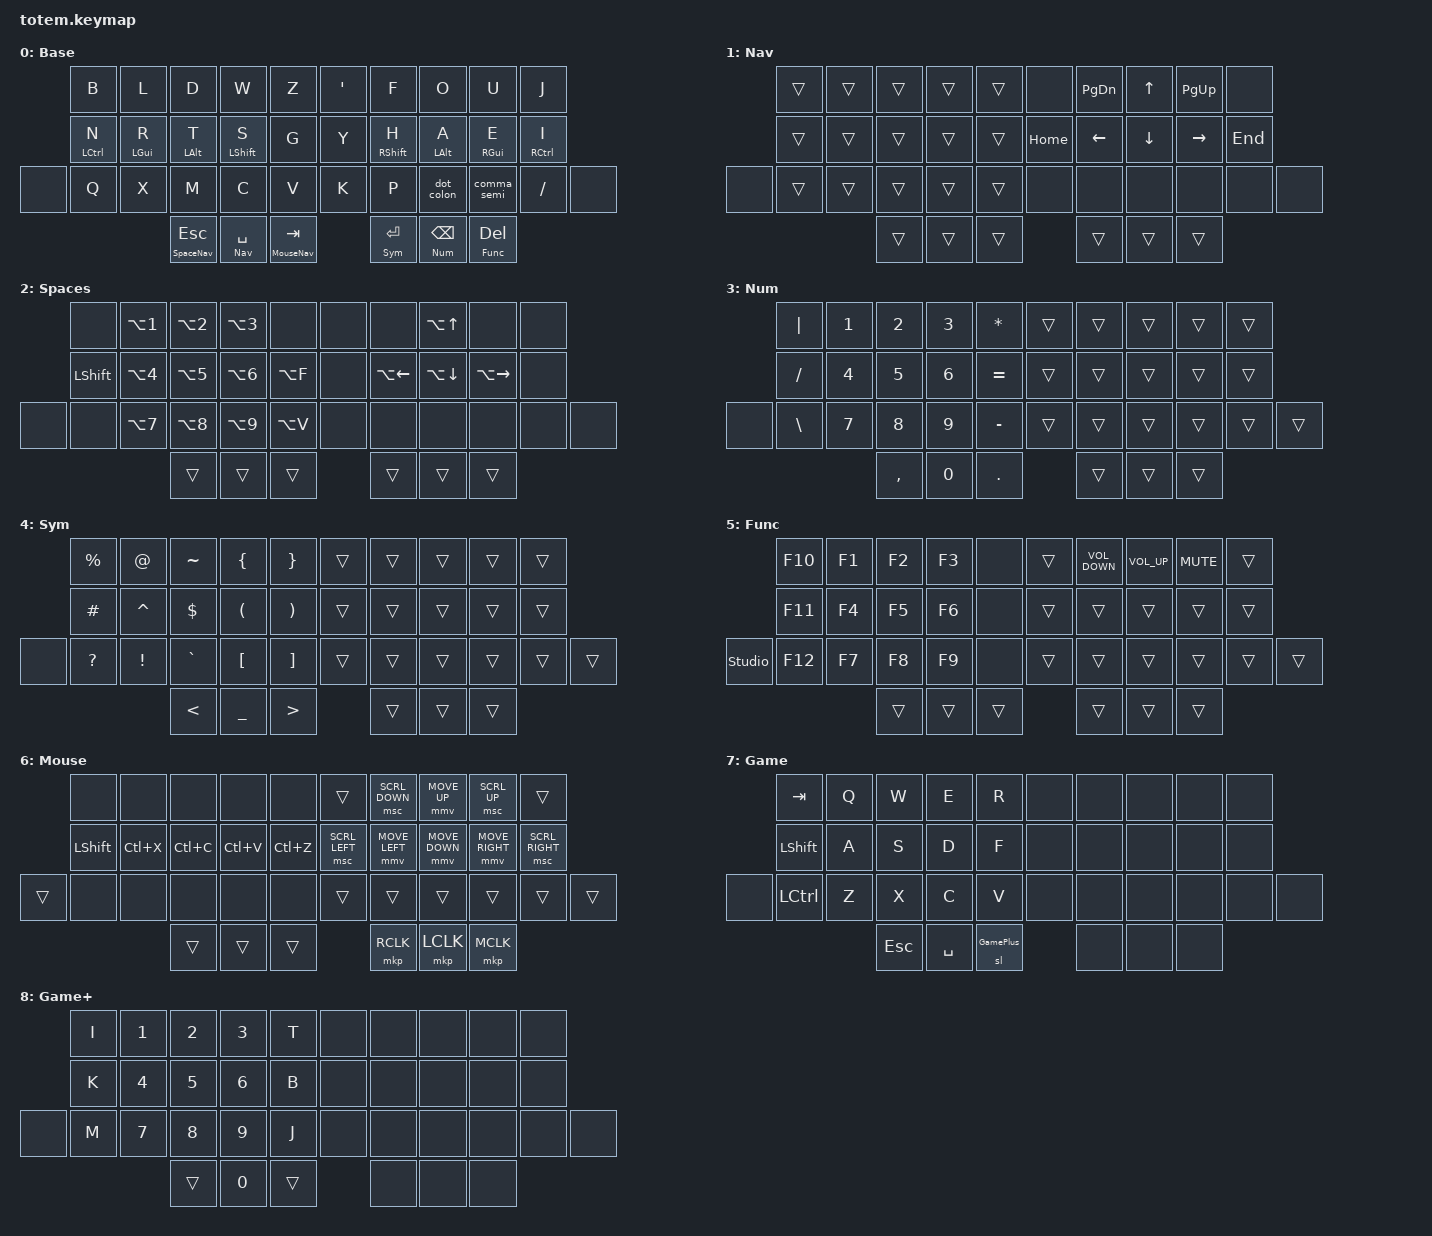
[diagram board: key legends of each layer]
//
//                                                        ▀▀▀▀▀     ▀▀▀▀▀          ▀▀█▀▀
//                                                        ▄▀▀▀▄  ▄  ▄▀▀▀▄  ▄  ▄▀▀▀▄  █  ▄▀▀▀▄
//                                                        █   █  █  █   █  █  █   █  █  █   █
//                                                         ▀▀▀   █   ▀▀▀   █   ▀▀▀   ▀   ▀▀▀
//                                                               █      ▄▄▄█▄▄▄    █   █
//                                                               ▀      █  █  █     █▄█
//                                                             ▀▀▀▀▀    █  █  █      ▀
//                                                                      ▀  ▀  ▀
//
// ▄▄▄▄▄▄▄▄▄▄▄▄▄▄▄▄▄▄▄▄▄▄▄▄▄▄▄▄▄▄▄▄▄▄▄▄▄▄▄▄▄▄▄▄▄▄▄▄▄▄▄▄▄▄▄▄▄▄▄▄▄▄▄▄▄▄▄▄▄▄▄▄▄▄▄▄▄▄▄▄▄▄▄▄▄▄▄▄▄▄▄▄▄▄▄▄▄▄▄▄▄▄▄▄▄▄▄▄▄▄▄▄▄▄▄▄▄▄▄▄▄▄▄▄▄▄▄▄▄▄▄▄▄▄▄▄▄▄▄▄▄▄▄▄▄▄▄▄▄

#include <behaviors.dtsi>
#include <dt-bindings/zmk/keys.h>
#include <dt-bindings/zmk/pointing.h>

#define Base        0
#define Nav         1
#define SpaceNav    2
#define Num         3
#define Sym         4
#define Func        5
#define MouseNav    6
#define Game        7
#define GamePlus    8

&mt {
    flavor = "balanced";
    tapping-term-ms = <200>;
    quick-tap-ms = <100>;
    require-prior-idle-ms = <150>;
};

&lt {
    flavor = "balanced";
    quick-tap-ms = <150>;
};

/ {
    behaviors {
        hm: homerow_mods {
            compatible = "zmk,behavior-hold-tap";
            label = "HOMEROW_MODS";
            #binding-cells = <2>;
            flavor = "balanced";
            tapping-term-ms = <200>;
            quick-tap-ms = <125>;
            require-prior-idle-ms = <150>;
            bindings = <&kp>, <&kp>;
        };

        dot_colon: dot_colon {
            compatible = "zmk,behavior-mod-morph";
            label = ". :";
            bindings = <&kp PERIOD>, <&kp COLON>;

            #binding-cells = <0>;
            mods = <(MOD_LSFT|MOD_RSFT)>;
        };

        comma_semi: comma_semi {
            compatible = "zmk,behavior-mod-morph";
            label = ", :";
            bindings = <&kp COMMA>, <&kp SEMI>;

            #binding-cells = <0>;
            mods = <(MOD_LSFT|MOD_RSFT)>;
        };
    };

    combos {
        compatible = "zmk,combos";

        combo_bootloader {
            timeout-ms = <50>;
            require-prior-idle-ms = <500>;
            key-positions = <0 9>;
            layers = <Func>;
            bindings = <&bootloader>;
        };

        combo_caps_word {
            timeout-ms = <50>;
            require-prior-idle-ms = <150>;
            key-positions = <13 16>;
            bindings = <&caps_word>;
        };

        combo_game {
            timeout-ms = <50>;
            require-prior-idle-ms = <500>;
            key-positions = <32 37>;
            bindings = <&tog Game>;
        };
    };

    keymap {
        compatible = "zmk,keymap";

        Base {
            display-name = "Base";
            bindings = <
       &kp       B  &kp      L  &kp      D           &kp        W   &kp Z        &kp SINGLE_QUOTE  &kp        F   &kp      O    &kp      U       &kp       J
       &hm LCTRL N  &hm LGUI R  &hm LALT T           &hm LSHIFT S   &kp G        &kp Y             &hm RSHIFT H   &hm LALT A    &hm RGUI E       &hm RCTRL I
&none  &kp       Q  &kp      X  &kp      M           &kp        C   &kp V        &kp K             &kp        P   &dot_colon    &comma_semi      &kp SLASH   &none
                                &lt SpaceNav ESCAPE  &lt Nav SPACE  &lt MouseNav TAB               &lt Sym ENTER  &lt Num BSPC  &lt Func DELETE
            >;
        };

        Nav {
            display-name = "Nav";
            bindings = <
       &trans  &trans  &trans  &trans  &trans    &none     &kp PAGE_DOWN  &kp UP    &kp PG_UP  &none
       &trans  &trans  &trans  &trans  &trans    &kp HOME  &kp LEFT       &kp DOWN  &kp RIGHT  &kp END
&none  &trans  &trans  &trans  &trans  &trans    &none     &none          &none     &none      &none    &none
                       &trans  &trans  &trans    &trans    &trans         &trans
            >;
        };

        SpaceNav {
            display-name = "Spaces";
            bindings = <
       &none           &kp LA(NUMBER_1)  &kp LA(NUMBER_2)  &kp LA(NUMBER_3)  &none        &none   &none               &kp LA(UP_ARROW)    &none                &none
       &kp LEFT_SHIFT  &kp LA(NUMBER_4)  &kp LA(NUMBER_5)  &kp LA(NUMBER_6)  &kp LA(F)    &none   &kp LA(LEFT_ARROW)  &kp LA(DOWN_ARROW)  &kp LA(RIGHT_ARROW)  &none
&none  &none           &kp LA(N7)        &kp LA(N8)        &kp LA(N9)        &kp LA(V)    &none   &none               &none               &none                &none  &none
                                         &trans            &trans            &trans       &trans  &trans              &trans
            >;
        };

        Num {
            display-name = "Num";
            bindings = <
       &kp PIPE      &kp N1  &kp N2     &kp N3  &kp STAR        &trans  &trans  &trans  &trans  &trans
       &kp FSLH      &kp N4  &kp N5     &kp N6  &kp EQUAL       &trans  &trans  &trans  &trans  &trans
&none  &kp BSLH      &kp N7  &kp N8     &kp N9  &kp MINUS       &trans  &trans  &trans  &trans  &trans  &trans
                             &kp COMMA  &kp N0  &kp DOT         &trans  &trans  &trans
            >;
        };

        Sym {
            display-name = "Sym";
            bindings = <
       &kp PRCNT      &kp AT         &kp TILDE      &kp LBRC       &kp RBRC        &trans  &trans  &trans  &trans  &trans
       &kp POUND      &kp CARET      &kp DLLR       &kp LPAR       &kp RPAR        &trans  &trans  &trans  &trans  &trans
&none  &kp QMARK      &kp EXCL       &kp GRAVE      &kp LBKT       &kp RBKT        &trans  &trans  &trans  &trans  &trans  &trans
                                     &kp LT         &kp UNDER      &kp GT          &trans  &trans  &trans
            >;
        };

        Func {
            display-name = "Func";
            bindings = <
                &kp F10  &kp F1  &kp F2  &kp F3  &none     &trans  &kp C_VOLUME_DOWN  &kp C_VOLUME_UP  &kp K_MUTE  &trans
                &kp F11  &kp F4  &kp F5  &kp F6  &none     &trans  &trans             &trans           &trans      &trans
&studio_unlock  &kp F12  &kp F7  &kp F8  &kp F9  &none     &trans  &trans             &trans           &trans      &trans  &trans
                                 &trans  &trans  &trans    &trans  &trans             &trans
            >;
        };

        MouseNav {
            display-name = "Mouse";
            bindings = <
        &none           &none      &none      &none      &none        &trans          &msc SCRL_DOWN  &mmv MOVE_UP    &msc SCRL_UP     &trans
        &kp LEFT_SHIFT  &kp LC(X)  &kp LC(C)  &kp LC(V)  &kp LC(Z)    &msc SCRL_LEFT  &mmv MOVE_LEFT  &mmv MOVE_DOWN  &mmv MOVE_RIGHT  &msc SCRL_RIGHT
&trans  &none           &none      &none      &none      &none        &trans          &trans          &trans          &trans           &trans           &trans
                                   &trans     &trans     &trans       &mkp RCLK       &mkp LCLK       &mkp MCLK
            >;
        };

        Game {
            display-name = "Game";
            bindings = <
       &kp TAB         &kp Q  &kp W      &kp E      &kp R              &none  &none  &none  &none  &none
       &kp LSHIFT      &kp A  &kp S      &kp D      &kp F              &none  &none  &none  &none  &none
&none  &kp LCTRL       &kp Z  &kp X      &kp C      &kp V              &none  &none  &none  &none  &none  &none
                              &kp ESC    &kp SPACE  &sl GamePlus       &none  &none  &none
            >;
        };

        GamePlus {
            display-name = "Game+";
            bindings = <
       &kp I  &kp N1  &kp N2     &kp N3  &kp T        &none   &none  &none  &none  &none
       &kp K  &kp N4  &kp N5     &kp N6  &kp B        &none   &none  &none  &none  &none
&none  &kp M  &kp N7  &kp N8     &kp N9  &kp J        &none   &none  &none  &none  &none  &none
                      &trans     &kp N0  &trans       &none   &none  &none
            >;
        };
    };
};
